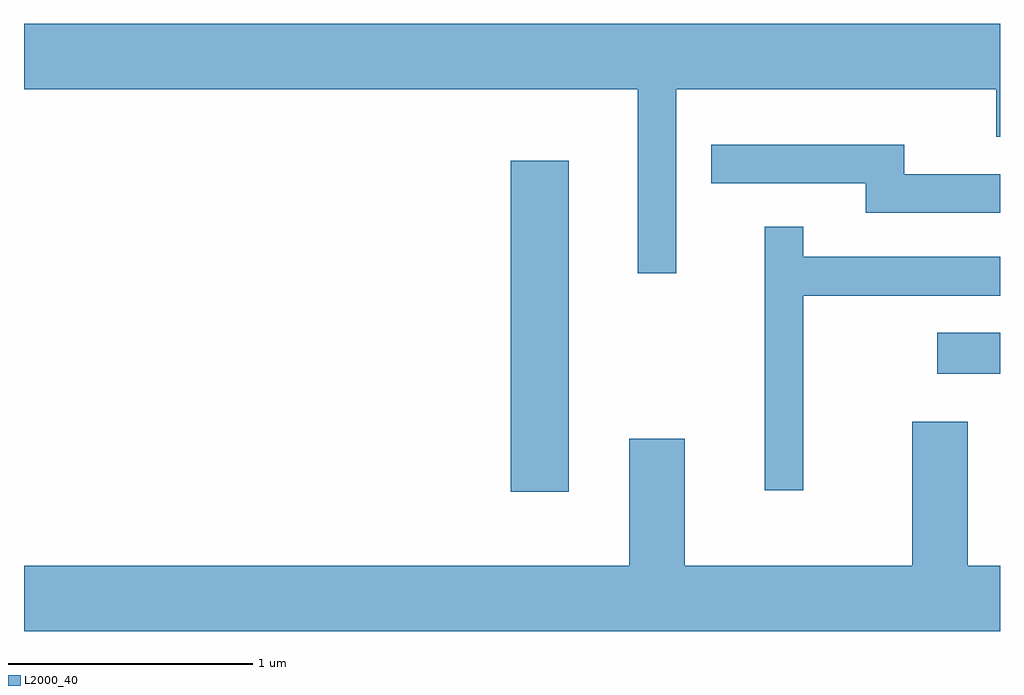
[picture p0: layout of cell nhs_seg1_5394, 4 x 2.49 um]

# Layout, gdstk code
import gdstk
lib = gdstk.Library(unit=1e-6, precision=1e-09)
def R(c, l, rs):  # rectangles x0, y0, x1, y1
    for r in rs: c.add(gdstk.rectangle(r[:2], r[2:], *l))
def P(c, l, *ps):  # polygons
    for p in ps: c.add(gdstk.Polygon(p, *l))
L2000_40 = (2000, 40)

nhs_seg1_5394 = lib.new_cell('nhs_seg1_5394')
R(nhs_seg1_5394, L2000_40, [(349.606,904.586,349.844,905.944), (351.353,905.071,351.611,905.239)])
P(nhs_seg1_5394, L2000_40, [(350.284,906.236),(351.596,906.236),(351.596,906.041),(351.611,906.041),(351.611,906.504),(347.611,906.504),(347.611,906.236),(350.126,906.236),(350.126,905.483),(350.284,905.483)],
  [(351.611,905.889),(351.219,905.889),(351.219,906.009),(350.428,906.009),(350.428,905.851),(351.061,905.851),(351.061,905.731),(351.611,905.731)],
  [(350.804,905.391),(351.611,905.391),(351.611,905.549),(350.804,905.549),(350.804,905.673),(350.646,905.673),(350.646,904.593),(350.804,904.593)],
  [(351.611,904.284),(351.479,904.284),(351.479,904.874),(351.251,904.874),(351.251,904.284),(350.319,904.284),(350.319,904.804),(350.091,904.804),(350.091,904.284),(347.611,904.284),(347.611,904.016),(351.611,904.016)])

lib.write_gds('nhs_seg1_5394.gds')
